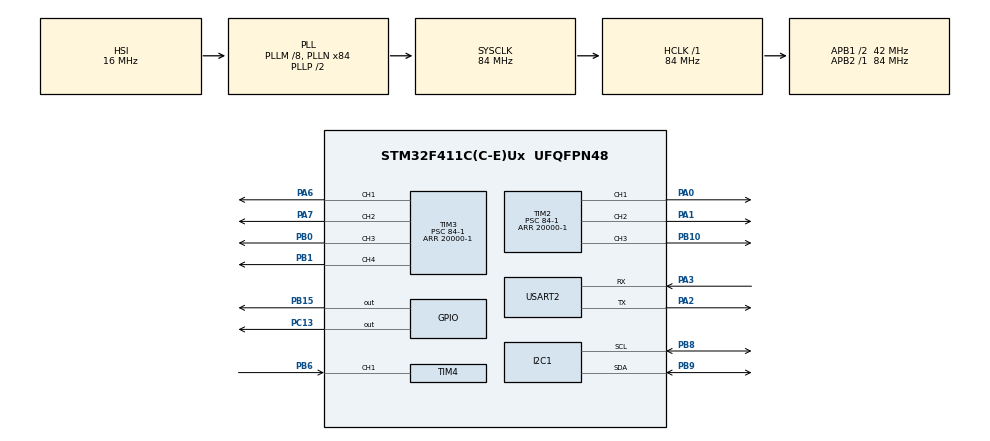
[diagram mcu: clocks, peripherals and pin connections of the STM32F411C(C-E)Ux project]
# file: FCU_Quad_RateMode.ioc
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Mcu.Family=STM32F4
Mcu.Name=STM32F411C(C-E)Ux
Mcu.Package=UFQFPN48
NVIC.PriorityGroup=NVIC_PRIORITYGROUP_4
NVIC.TIM4_IRQn=true\:0\:0\:false\:false\:true\:true\:true\:true
PA0-WKUP.Signal=S_TIM2_CH1_ETR
PA1.Signal=S_TIM2_CH2
PA2.Mode=Asynchronous
PA2.Signal=USART2_TX
PA3.Mode=Asynchronous
PA3.Signal=USART2_RX
PA6.Signal=S_TIM3_CH1
PA7.Signal=S_TIM3_CH2
PB0.Signal=S_TIM3_CH3
PB1.Signal=S_TIM3_CH4
PB10.Signal=S_TIM2_CH3
PB15.Signal=GPIO_Output
PB6.GPIO_PuPd=GPIO_PULLDOWN
PB6.Signal=S_TIM4_CH1
PB8.GPIO_Pu=GPIO_PULLUP
PB8.Mode=I2C
PB8.Signal=I2C1_SCL
PB9.GPIO_Pu=GPIO_PULLUP
PB9.Mode=I2C
PB9.Signal=I2C1_SDA
PC13-ANTI_TAMP.PinState=GPIO_PIN_SET
PC13-ANTI_TAMP.Signal=GPIO_Output
ProjectManager.HeapSize=0x200
ProjectManager.StackSize=0x400
ProjectManager.TargetToolchain=STM32CubeIDE
RCC.48MHZClocksFreq_Value=42000000
RCC.AHBFreq_Value=84000000
RCC.APB1CLKDivider=RCC_HCLK_DIV2
RCC.APB1Freq_Value=42000000
RCC.APB1TimFreq_Value=84000000
RCC.APB2Freq_Value=84000000
RCC.APB2TimFreq_Value=84000000
RCC.CortexFreq_Value=84000000
RCC.HCLKFreq_Value=84000000
RCC.HSE_VALUE=25000000
RCC.HSI_VALUE=16000000
RCC.LSE_VALUE=32768
RCC.PLLM=8
RCC.PLLN=84
RCC.SYSCLKFreq_VALUE=84000000
RCC.SYSCLKSource=RCC_SYSCLKSOURCE_PLLCLK
RCC.VCOOutputFreq_Value=168000000
SH.S_TIM2_CH1_ETR.0=TIM2_CH1,PWM Generation1 CH1
SH.S_TIM2_CH2.0=TIM2_CH2,PWM Generation2 CH2
SH.S_TIM2_CH3.0=TIM2_CH3,PWM Generation3 CH3
SH.S_TIM3_CH1.0=TIM3_CH1,PWM Generation1 CH1
SH.S_TIM3_CH2.0=TIM3_CH2,PWM Generation2 CH2
SH.S_TIM3_CH3.0=TIM3_CH3,PWM Generation3 CH3
SH.S_TIM3_CH4.0=TIM3_CH4,PWM Generation4 CH4
SH.S_TIM4_CH1.0=TIM4_CH1,Input_Capture1_from_TI1
TIM10.Prescaler=84-1
TIM11.Prescaler=83
TIM2.Channel-PWM\ Generation1\ CH1=TIM_CHANNEL_1
TIM2.Channel-PWM\ Generation2\ CH2=TIM_CHANNEL_2
TIM2.Channel-PWM\ Generation3\ CH3=TIM_CHANNEL_3
TIM2.Period=20000-1
TIM2.Prescaler=84-1
TIM3.Channel-PWM\ Generation1\ CH1=TIM_CHANNEL_1
TIM3.Channel-PWM\ Generation2\ CH2=TIM_CHANNEL_2
TIM3.Channel-PWM\ Generation3\ CH3=TIM_CHANNEL_3
TIM3.Channel-PWM\ Generation4\ CH4=TIM_CHANNEL_4
TIM3.Period=20000-1
TIM3.Prescaler=84-1
TIM4.Channel-Input_Capture1_from_TI1=TIM_CHANNEL_1
TIM4.ICFilter_CH1=15
TIM4.Prescaler=84-1
USART2.VirtualMode=VM_ASYNC
VP_TIM10_VS_ClockSourceINT.Mode=Enable_Timer
VP_TIM11_VS_ClockSourceINT.Mode=Enable_Timer
VP_TIM2_VS_ClockSourceINT.Mode=Internal
VP_TIM3_VS_ClockSourceINT.Mode=Internal
VP_TIM4_VS_ClockSourceINT.Mode=Internal
board=custom

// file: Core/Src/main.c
/* USER CODE BEGIN Header */
/**
 ******************************************************************************
 * @file           : main.c
 * @brief          : Main program body
 ******************************************************************************
 * @attention
 *
 * Copyright (c) 2025 STMicroelectronics.
 * All rights reserved.
 *
 * This software is licensed under terms that can be found in the LICENSE file
 * in the root directory of this software component.
 * If no LICENSE file comes with this software, it is provided AS-IS.
 *
 ******************************************************************************
 */
/* USER CODE END Header */
#include "main.h"

/* USER CODE BEGIN Includes */
#include "string.h"
#include "mpu6050.h"
#include <stdio.h>
/* USER CODE END Includes */

/* USER CODE BEGIN PD */
#define PUTCHAR_PROTOTYPE int __io_putchar(int ch)

/* USER CODE END PD */

I2C_HandleTypeDef hi2c1;

TIM_HandleTypeDef htim2;
TIM_HandleTypeDef htim3;
TIM_HandleTypeDef htim4;
TIM_HandleTypeDef htim10;
TIM_HandleTypeDef htim11;

UART_HandleTypeDef huart2;

/* USER CODE BEGIN PV */
volatile uint16_t ppm_live_channels[8];
volatile uint16_t ppm_ready_channels[8];
uint16_t display_channels[8];
volatile uint8_t pulse = 1;

volatile uint8_t ppm_new_data_flag = 0;
volatile uint32_t last_capture = 0;

char msg[100];

volatile uint32_t ICValue_1 = 0;
volatile uint32_t frequency_1 = 0;
volatile float duty_1 = 0;

volatile uint32_t ICValue_2 = 0;
volatile uint32_t frequency_2 = 0;
volatile float duty_2 = 0;

volatile uint32_t ICValue_3 = 0;
volatile uint32_t frequency_3 = 0;
volatile float duty_3 = 0;

volatile uint32_t ICValue_4 = 0;
volatile uint32_t frequency_4 = 0;
volatile float duty_4 = 0;

volatile uint32_t ICValue_5 = 0;
volatile uint32_t frequency_5 = 0;
volatile float duty_5 = 0;

volatile uint32_t ICValue_6 = 0;
volatile uint32_t frequency_6 = 0;
volatile float duty_6 = 0;

volatile float pulse_width_us_1;
volatile float pulse_width_us_2;
volatile float pulse_width_us_3;
volatile float pulse_width_us_4;
volatile float pulse_width_us_5;
volatile float pulse_width_us_6;

float calibration_const_global_roll_accel = 0;
float calibration_const_global_pitch_accel = 0;

float calibration_const_global_roll_gyro = 0;
float calibration_const_global_pitch_gyro = 0;

float calibration_const_global_gx = 0;
float calibration_const_global_gy = 0;
float calibration_const_global_gz = 0;

float calibration_const_global_ax = 0;
float calibration_const_global_ay = 0;
float calibration_const_global_az = 0;

float DesiredRateRoll, DesiredRatePitch, DesiredRateYaw;
float ErrorRateRoll, ErrorRatePitch, ErrorRateYaw;
float InputRoll, InputThrottle, InputPitch, InputYaw;
float PrevErrorRateRoll, PrevErrorRatePitch, PrevErrorRateYaw;
float PrevItermRateRoll, PrevItermRatePitch, PrevItermRateYaw;
float PIDReturn[] = { 0, 0, 0 };

float PRateRoll = 1.87f;
float PRatePitch = 1.87f;
float PRateYaw = 2;
float IRateRoll = 3.35f;
float IRatePitch = 3.35f;
float IRateYaw = 12;
float DRateRoll = 0.03f;
float DRatePitch = 0.03f;
float DRateYaw = 0;

uint32_t last_time;

uint32_t M1 = 0;
uint32_t M2 = 0;
uint32_t M3 = 0;
uint32_t M4 = 0;

int cnt = 0;
float dt = 0;
int prev_cnt = 0;

float gyro_x = 0;
float gyro_y = 0;
float gyro_z = 0;
float accel_roll = 0;
float accel_pitch = 0;

int tim_value = 0;

/* USER CODE END PV */

void SystemClock_Config(void);
static void MX_GPIO_Init(void);
static void MX_I2C1_Init(void);
static void MX_TIM3_Init(void);
static void MX_TIM4_Init(void);
static void MX_TIM2_Init(void);
static void MX_USART2_UART_Init(void);
static void MX_TIM10_Init(void);
static void MX_TIM11_Init(void);

/* USER CODE BEGIN 0 */

uint32_t micros(void) {
	return __HAL_TIM_GET_COUNTER(&htim10);
}

float mapRCtoPID(uint16_t rcValue) {
	if (rcValue > 2000)
		rcValue = 2000;
	if (rcValue < 1000)
		rcValue = 1000;
	return (rcValue - 1000) * 10.0f / 1000.0f;
}

void HAL_TIM_IC_CaptureCallback(TIM_HandleTypeDef *htim) {
	if (htim->Instance == TIM4 && htim->Channel == HAL_TIM_ACTIVE_CHANNEL_1) {
		uint32_t current_capture = HAL_TIM_ReadCapturedValue(htim,
		TIM_CHANNEL_1);
		uint16_t pulse_width;

		if (current_capture > last_capture) {
			pulse_width = current_capture - last_capture;
		} else {
			pulse_width = (65535 - last_capture) + current_capture;
		}

		if (pulse_width > 3000) {

			memcpy((void*) ppm_ready_channels, (void*) ppm_live_channels,
					sizeof(ppm_live_channels));
			ppm_new_data_flag = 1;

			pulse = 1;
		}

		else {
			switch (pulse) {
			case 1:
				ppm_live_channels[0] = pulse_width;
				pulse++;
				break;
			case 2:
				ppm_live_channels[1] = pulse_width;
				pulse++;
				break;
			case 3:
				ppm_live_channels[2] = pulse_width;
				pulse++;
				break;
			case 4:
				ppm_live_channels[3] = pulse_width;
				pulse++;
				break;
			case 5:
				ppm_live_channels[4] = pulse_width;
				pulse++;
				break;
			case 6:
				ppm_live_channels[5] = pulse_width;
				pulse++;
				break;
			default:

				pulse++;
				break;
			}
		}
		last_capture = current_capture;
	}
}

void set_raw_ccr(int ccr_val, int channel) // use this instead , cofnigured for arr = 20k-1 - aryan
{
	if (channel == 1) {
		__HAL_TIM_SET_COMPARE(&htim2, TIM_CHANNEL_1, ccr_val);
	} else if (channel == 2) {
		__HAL_TIM_SET_COMPARE(&htim2, TIM_CHANNEL_2, ccr_val);
	} else if (channel == 3) {
		__HAL_TIM_SET_COMPARE(&htim2, TIM_CHANNEL_3, ccr_val);
	} else if (channel == 4) {
		__HAL_TIM_SET_COMPARE(&htim3, TIM_CHANNEL_1, ccr_val);
	} else if (channel == 5) {
		__HAL_TIM_SET_COMPARE(&htim3, TIM_CHANNEL_2, ccr_val);
	} else if (channel == 6) {
		__HAL_TIM_SET_COMPARE(&htim3, TIM_CHANNEL_3, ccr_val);
	} else if (channel == 7) {
		__HAL_TIM_SET_COMPARE(&htim3, TIM_CHANNEL_4, ccr_val);
	}
}

void pid_equation(float Error, float P, float I, float D, float PrevError,
		float PrevIterm) {

	float Pterm = P * Error;
	float Iterm = PrevIterm + I * (Error + PrevError) * 0.004 / 2;
	if (Iterm > 400)
		Iterm = 400;
	else if (Iterm < -400)
		Iterm = -400;
	float Dterm = D * (Error - PrevError) / 0.004;
	float PIDOutput = Pterm + Iterm + Dterm;
	if (PIDOutput > 400)
		PIDOutput = 400;
	else if (PIDOutput < -400)
		PIDOutput = -400;
	PIDReturn[0] = PIDOutput;
	PIDReturn[1] = Error;
	PIDReturn[2] = Iterm;
}

void reset_pid(void) {
	PrevErrorRateRoll = 0;
	PrevErrorRatePitch = 0;
	PrevErrorRateYaw = 0;
	PrevItermRateRoll = 0;
	PrevItermRatePitch = 0;
	PrevItermRateYaw = 0;
}

void servo_test_sweep(void) {
	int pulse;

//	printf("Starting Servo/ESC Test Sweep...\r\n");

	/* Start PWM on all servo channels */
	HAL_TIM_PWM_Start(&htim2, TIM_CHANNEL_1);
	HAL_TIM_PWM_Start(&htim2, TIM_CHANNEL_2);
	HAL_TIM_PWM_Start(&htim2, TIM_CHANNEL_3);
	HAL_TIM_PWM_Start(&htim3, TIM_CHANNEL_1);
	HAL_TIM_PWM_Start(&htim3, TIM_CHANNEL_2);
	HAL_TIM_PWM_Start(&htim3, TIM_CHANNEL_3);
	HAL_TIM_PWM_Start(&htim3, TIM_CHANNEL_4);

	/* Sweep from 1000 to 2000 */
	for (pulse = 500; pulse <= 2000; pulse += 50) {
		__HAL_TIM_SET_COMPARE(&htim2, TIM_CHANNEL_1, pulse);
		__HAL_TIM_SET_COMPARE(&htim2, TIM_CHANNEL_2, pulse);
		__HAL_TIM_SET_COMPARE(&htim2, TIM_CHANNEL_3, pulse);

		__HAL_TIM_SET_COMPARE(&htim3, TIM_CHANNEL_1, pulse);
		__HAL_TIM_SET_COMPARE(&htim3, TIM_CHANNEL_2, pulse);
		__HAL_TIM_SET_COMPARE(&htim3, TIM_CHANNEL_3, pulse);
		__HAL_TIM_SET_COMPARE(&htim3, TIM_CHANNEL_4, pulse);

		//	printf("PWM = %lu us\r\n", pulse);
		HAL_Delay(500);
	}

	/* Sweep back from 2000 to 1000 */
	for (pulse = 2000; pulse >= 1000; pulse -= 50) {
		__HAL_TIM_SET_COMPARE(&htim2, TIM_CHANNEL_1, pulse);
		__HAL_TIM_SET_COMPARE(&htim2, TIM_CHANNEL_2, pulse);
		__HAL_TIM_SET_COMPARE(&htim2, TIM_CHANNEL_3, pulse);

		__HAL_TIM_SET_COMPARE(&htim3, TIM_CHANNEL_1, pulse);
		__HAL_TIM_SET_COMPARE(&htim3, TIM_CHANNEL_2, pulse);
		__HAL_TIM_SET_COMPARE(&htim3, TIM_CHANNEL_3, pulse);
		__HAL_TIM_SET_COMPARE(&htim3, TIM_CHANNEL_4, pulse);

		//	printf("PWM = %lu us\r\n", pulse);
		HAL_Delay(500);
	}

	//printf("Servo/ESC Sweep Test Complete.\r\n");
}

PUTCHAR_PROTOTYPE {
	/* Place your implementation of fputc here */
	/* e.g. write a character to the USART1 and Loop until the end of transmission */
	HAL_UART_Transmit(&huart2, (uint8_t*) &ch, 1, 0xFFFF);

	return ch;
}

uint32_t mapRCtoMotor(uint16_t rcValue) {
	if (rcValue > 2000) {
		rcValue = 2000;
	}
	if (rcValue < 1000) {
		rcValue = 1000;
	}
	// used simple ratio vala logic (y-0/63000-0 = x-1000 / 2000-1000)
	uint32_t motorValue = (uint32_t) (rcValue - 1000) * 180 / 1000;
	return motorValue;
}
/* USER CODE END 0 */

int main(void)
{

  /* MCU Configuration--------------------------------------------------------*/

  /* Reset of all peripherals, Initializes the Flash interface and the Systick. */
  HAL_Init();

  /* Configure the system clock */
  SystemClock_Config();

  /* Initialize all configured peripherals */
  MX_GPIO_Init();
  MX_I2C1_Init();
  MX_TIM3_Init();
  MX_TIM4_Init();
  MX_TIM2_Init();
  MX_USART2_UART_Init();
  MX_TIM10_Init();
  MX_TIM11_Init();
  /* USER CODE BEGIN 2 */

	HAL_TIM_PWM_Start(&htim2, TIM_CHANNEL_1); //pwm out tim2
	HAL_TIM_PWM_Start(&htim2, TIM_CHANNEL_2);
	HAL_TIM_PWM_Start(&htim2, TIM_CHANNEL_3);
	HAL_TIM_PWM_Start(&htim3, TIM_CHANNEL_1); //pwm out tim3
	HAL_TIM_PWM_Start(&htim3, TIM_CHANNEL_2);
	HAL_TIM_PWM_Start(&htim3, TIM_CHANNEL_3);
	HAL_TIM_PWM_Start(&htim3, TIM_CHANNEL_4);
	HAL_TIM_IC_Start_IT(&htim4, TIM_CHANNEL_1);

	int ThrottleIdle = 1200;

	printf("Hello World!\n");

	HAL_GPIO_WritePin(GPIOC, GPIO_PIN_13, 0);
	HAL_Delay(3000);
	mpu_init();

	printf("Init success!\n");

	HAL_GPIO_WritePin(GPIOC, GPIO_PIN_13, 1);

	calibration_const_global_gx = mpu_gyro_calibration(0);
	calibration_const_global_gy = mpu_gyro_calibration(1);
	calibration_const_global_gz = mpu_gyro_calibration(2);

	HAL_TIM_Base_Start(&htim10);

	last_time = micros();

  /* USER CODE END 2 */

  /* Infinite loop */
  /* USER CODE BEGIN WHILE */
	while (1) {

		printf("looping 1\n");

		uint32_t now = micros();

		if ((uint16_t) (now - last_time) >= 4000)

		{

			HAL_TIM_Base_Start(&htim11);

			last_time = now;

			////////ppm/////////
			memcpy(display_channels, (void*) ppm_ready_channels,
					sizeof(ppm_ready_channels));
			ppm_new_data_flag = 0;

			//////ppm//////////

			//desired set point calc - aryan
			DesiredRateRoll = 0.15 * (display_channels[0] - 1500);
			DesiredRatePitch = 0.15 * (display_channels[1] - 1500);
			InputThrottle = display_channels[2];
			DesiredRateYaw = 0.15 * (display_channels[3] - 1500);

			DesiredRateYaw = -DesiredRateYaw;

			//error calc (desired - current = error oof)

			ErrorRateRoll = DesiredRateRoll
					- (mpu_gyro_read(0) - calibration_const_global_gx); //x
			ErrorRatePitch = DesiredRatePitch
					- (mpu_gyro_read(1) - calibration_const_global_gy); //y
			ErrorRateYaw = DesiredRateYaw
					- (mpu_gyro_read(2) - calibration_const_global_gz); //z

			//realtime pid mapping - uncomment out for tuning

			PRatePitch = mapRCtoPID(display_channels[4]);
			PRateRoll = mapRCtoPID(display_channels[4]);

//     z	if (display_channels[6] > 1700) {
			IRateRoll = mapRCtoPID(display_channels[5]);
			IRatePitch = mapRCtoPID(display_channels[5]);

//			//printf("Changing I now\n");
//				} else {
//			 DRateRoll = mapRCtoPID(display_channels[5]);
//			 DRatePitch = mapRCtoPID(display_channels[5]);
//
//			 //	printf("Changing D now\n");
//				}
//

			//actual pid calculations and value return - aryan
			pid_equation(ErrorRateRoll, PRateRoll, IRateRoll, DRateRoll,
					PrevErrorRateRoll, PrevItermRateRoll);
			InputRoll = PIDReturn[0];
			PrevErrorRateRoll = PIDReturn[1];
			PrevItermRateRoll = PIDReturn[2];
			pid_equation(ErrorRatePitch, PRatePitch, IRatePitch, DRatePitch,
					PrevErrorRatePitch, PrevItermRatePitch);
			InputPitch = PIDReturn[0];
			PrevErrorRatePitch = PIDReturn[1];
			PrevItermRatePitch = PIDReturn[2];
			pid_equation(ErrorRateYaw, PRateYaw, IRateYaw, DRateYaw,
					PrevErrorRateYaw, PrevItermRateYaw);
			InputYaw = PIDReturn[0];
			PrevErrorRateYaw = PIDReturn[1];
			PrevItermRateYaw = PIDReturn[2];

//debug print

			/*
			 printf(
			 "THR=%u ERR[R%+.2f P%+.2f Y%+.2f] PIDOUT[R%+.2f P%+.2f Y%+.2f] MIX[%ld,%ld,%ld,%ld]\n",
			 display_channels[2], ErrorRateRoll, ErrorRatePitch,
			 ErrorRateYaw, InputRoll, InputPitch, InputYaw, (long) M1,
			 (long) M2, (long) M3, (long) M4);
			 */

			//corresponds to each of the 4 motors and their respective motor mixing formulas - aryan
			//yaw is reversed, so basically flipping it back - aryan
			M1 = 1.024f * (InputThrottle - InputRoll - InputPitch - InputYaw);
			M2 = 1.024f * (InputThrottle - InputRoll + InputPitch + InputYaw);
			M3 = 1.024f * (InputThrottle + InputRoll + InputPitch - InputYaw);
			M4 = 1.024f * (InputThrottle + InputRoll - InputPitch + InputYaw);

///debug print
			/*
			 printf("THR=%u MIX=[%ld,%ld,%ld,%ld] PID=[R%+.1f P%+.1f Y%+.1f] OUT=[%lu,%lu,%lu,%lu]\n",
			 display_channels[2],
			 (long)M1, (long)M2, (long)M3, (long)M4,
			 InputRoll, InputPitch, InputYaw,
			 (unsigned long)M1, (unsigned long)M2,
			 (unsigned long)M3, (unsigned long)M4);

			 printf("GZ raw=%+.2f  GZ cal=%+.2f  ErrorY=%+.2f\n",
			 mpu_gyro_read(2),
			 mpu_gyro_read(2) - calibration_const_global_gz,
			 ErrorRateYaw);
			 */

			//basically the lowest the throttle can go - aryan
			if (M1 < ThrottleIdle)
				M1 = ThrottleIdle;
			if (M2 < ThrottleIdle)
				M2 = ThrottleIdle;
			if (M3 < ThrottleIdle)
				M3 = ThrottleIdle;
			if (M4 < ThrottleIdle)
				M4 = ThrottleIdle;

			// capping maximum m1-4 values - aryan

			if (M1 > 2000)
				M1 = 1999;
			if (M2 > 2000)
				M2 = 1999;
			if (M3 > 2000)
				M3 = 1999;
			if (M4 > 2000)
				M4 = 1999;

			//whenever 0 throttle issued to remote then cutoff and reset pid  - aryan

			int ThrottleCutOff = 1000;
			if (display_channels[2] < 1100) {
				M1 = ThrottleCutOff;
				M2 = ThrottleCutOff;
				M3 = ThrottleCutOff;
				M4 = ThrottleCutOff;
				reset_pid();
			}

			//finally send the issued motor power commands to the motors themselves - aryan

			//channel notes on our test setup - aryan

			/*	top right - tim 3 ch 1  -
			 top left - tim 3 ch 3
			 bottom right - tim 3 ch 4
			 bottom left - tim 3 ch 2*/

			set_raw_ccr(M1, 5); // func 4 is m3
			set_raw_ccr(M4, 7); // func 7 is m4
			set_raw_ccr(M3, 4);  // func 5 is m1
			set_raw_ccr(M2, 6); //func 6 is m2

			HAL_TIM_Base_Stop(&htim11);
			tim_value = TIM11->CNT;
			TIM11->CNT = 0;

			printf("Kalman Angles: Roll = %.2f, Pitch = %.2f\n", mpu_accel_read(0), mpu_accel_read(1));

//debug prints

			/*

			 printf("P Roll and pitch is %f and I Roll and pitch is %f\n",PRatePitch, IRatePitch);

			 printf("M1:%lu  M2:%lu  M3:%lu  M4:%lu\r\n",
			 (unsigned long) M1, (unsigned long) M2,
			 (unsigned long) M3, (unsigned long) M4);

			 printf("GYRO raw: gx=%+.2f gy=%+.2f gz=%+.2f\n",
			 mpu_gyro_read(0) - calibration_const_global_gx , mpu_gyro_read(1) - calibration_const_global_gy , mpu_gyro_read(2) - calibration_const_global_gz );

			 printf("ERR: eR=%+.2f eP=%+.2f eY=%+.2f\n", ErrorRateRoll,
			 ErrorRatePitch, ErrorRateYaw);

			 printf("PID R: P=%+.2f I=%+.2f D=%+.2f OUT=%+.2f\n",
			 PRateRoll * PrevErrorRateRoll,
			 PrevItermRateRoll,
			 InputRoll - (PRateRoll * PrevErrorRateRoll + PrevItermRateRoll),
			 InputRoll);

			 printf("PID P: P=%+.2f I=%+.2f D=%+.2f OUT=%+.2f\n",
			 PRatePitch * PrevErrorRatePitch,
			 PrevItermRatePitch,
			 InputPitch - (PRatePitch * PrevErrorRatePitch + PrevItermRatePitch),
			 InputPitch);

			 printf("PID Y: P=%+.2f I=%+.2f D=%+.2f OUT=%+.2f\n",
			 PRateYaw * PrevErrorRateYaw,
			 PrevItermRateYaw,
			 InputYaw - (PRateYaw * PrevErrorRateYaw + PrevItermRateYaw),
			 InputYaw);

			 printf("MIX raw: M1=%d M2=%d M3=%d M4=%d\n", M1, M2, M3, M4);

			 printf("PWM OUT: TR=%d TL=%d BL=%d BR=%d\n",
			 M1, M2, M3, M4);

			 */
		}
    /* USER CODE END WHILE */

	}
}

void SystemClock_Config(void)
{
  RCC_OscInitTypeDef RCC_OscInitStruct = {0};
  RCC_ClkInitTypeDef RCC_ClkInitStruct = {0};

  /** Configure the main internal regulator output voltage
  */
  __HAL_RCC_PWR_CLK_ENABLE();
  __HAL_PWR_VOLTAGESCALING_CONFIG(PWR_REGULATOR_VOLTAGE_SCALE1);

  /** Initializes the RCC Oscillators according to the specified parameters
  * in the RCC_OscInitTypeDef structure.
  */
  RCC_OscInitStruct.OscillatorType = RCC_OSCILLATORTYPE_HSI;
  RCC_OscInitStruct.HSIState = RCC_HSI_ON;
  RCC_OscInitStruct.HSICalibrationValue = RCC_HSICALIBRATION_DEFAULT;
  RCC_OscInitStruct.PLL.PLLState = RCC_PLL_ON;
  RCC_OscInitStruct.PLL.PLLSource = RCC_PLLSOURCE_HSI;
  RCC_OscInitStruct.PLL.PLLM = 8;
  RCC_OscInitStruct.PLL.PLLN = 84;
  RCC_OscInitStruct.PLL.PLLP = RCC_PLLP_DIV2;
  RCC_OscInitStruct.PLL.PLLQ = 4;
  if (HAL_RCC_OscConfig(&RCC_OscInitStruct) != HAL_OK)
  {
    Error_Handler();
  }

  /** Initializes the CPU, AHB and APB buses clocks
  */
  RCC_ClkInitStruct.ClockType = RCC_CLOCKTYPE_HCLK|RCC_CLOCKTYPE_SYSCLK
                              |RCC_CLOCKTYPE_PCLK1|RCC_CLOCKTYPE_PCLK2;
  RCC_ClkInitStruct.SYSCLKSource = RCC_SYSCLKSOURCE_PLLCLK;
  RCC_ClkInitStruct.AHBCLKDivider = RCC_SYSCLK_DIV1;
  RCC_ClkInitStruct.APB1CLKDivider = RCC_HCLK_DIV2;
  RCC_ClkInitStruct.APB2CLKDivider = RCC_HCLK_DIV1;

  if (HAL_RCC_ClockConfig(&RCC_ClkInitStruct, FLASH_LATENCY_2) != HAL_OK)
  {
    Error_Handler();
  }
}

static void MX_I2C1_Init(void)
{

  hi2c1.Instance = I2C1;
  hi2c1.Init.ClockSpeed = 100000;
  hi2c1.Init.DutyCycle = I2C_DUTYCYCLE_2;
  hi2c1.Init.OwnAddress1 = 0;
  hi2c1.Init.AddressingMode = I2C_ADDRESSINGMODE_7BIT;
  hi2c1.Init.DualAddressMode = I2C_DUALADDRESS_DISABLE;
  hi2c1.Init.OwnAddress2 = 0;
  hi2c1.Init.GeneralCallMode = I2C_GENERALCALL_DISABLE;
  hi2c1.Init.NoStretchMode = I2C_NOSTRETCH_DISABLE;
  if (HAL_I2C_Init(&hi2c1) != HAL_OK)
  {
    Error_Handler();
  }

}

static void MX_TIM2_Init(void)
{

  TIM_ClockConfigTypeDef sClockSourceConfig = {0};
  TIM_MasterConfigTypeDef sMasterConfig = {0};
  TIM_OC_InitTypeDef sConfigOC = {0};

  htim2.Instance = TIM2;
  htim2.Init.Prescaler = 84-1;
  htim2.Init.CounterMode = TIM_COUNTERMODE_UP;
  htim2.Init.Period = 20000-1;
  htim2.Init.ClockDivision = TIM_CLOCKDIVISION_DIV1;
  htim2.Init.AutoReloadPreload = TIM_AUTORELOAD_PRELOAD_DISABLE;
  if (HAL_TIM_Base_Init(&htim2) != HAL_OK)
  {
    Error_Handler();
  }
  sClockSourceConfig.ClockSource = TIM_CLOCKSOURCE_INTERNAL;
  if (HAL_TIM_ConfigClockSource(&htim2, &sClockSourceConfig) != HAL_OK)
  {
    Error_Handler();
  }
  if (HAL_TIM_PWM_Init(&htim2) != HAL_OK)
  {
    Error_Handler();
  }
  sMasterConfig.MasterOutputTrigger = TIM_TRGO_RESET;
  sMasterConfig.MasterSlaveMode = TIM_MASTERSLAVEMODE_DISABLE;
  if (HAL_TIMEx_MasterConfigSynchronization(&htim2, &sMasterConfig) != HAL_OK)
  {
    Error_Handler();
  }
  sConfigOC.OCMode = TIM_OCMODE_PWM1;
  sConfigOC.Pulse = 0;
  sConfigOC.OCPolarity = TIM_OCPOLARITY_HIGH;
  sConfigOC.OCFastMode = TIM_OCFAST_DISABLE;
  if (HAL_TIM_PWM_ConfigChannel(&htim2, &sConfigOC, TIM_CHANNEL_1) != HAL_OK)
  {
    Error_Handler();
  }
  if (HAL_TIM_PWM_ConfigChannel(&htim2, &sConfigOC, TIM_CHANNEL_2) != HAL_OK)
  {
    Error_Handler();
  }
  if (HAL_TIM_PWM_ConfigChannel(&htim2, &sConfigOC, TIM_CHANNEL_3) != HAL_OK)
  {
    Error_Handler();
  }
  HAL_TIM_MspPostInit(&htim2);

}

static void MX_TIM3_Init(void)
{

  TIM_ClockConfigTypeDef sClockSourceConfig = {0};
  TIM_MasterConfigTypeDef sMasterConfig = {0};
  TIM_OC_InitTypeDef sConfigOC = {0};

  htim3.Instance = TIM3;
  htim3.Init.Prescaler = 84-1;
  htim3.Init.CounterMode = TIM_COUNTERMODE_UP;
  htim3.Init.Period = 20000-1;
  htim3.Init.ClockDivision = TIM_CLOCKDIVISION_DIV1;
  htim3.Init.AutoReloadPreload = TIM_AUTORELOAD_PRELOAD_DISABLE;
  if (HAL_TIM_Base_Init(&htim3) != HAL_OK)
  {
    Error_Handler();
  }
  sClockSourceConfig.ClockSource = TIM_CLOCKSOURCE_INTERNAL;
  if (HAL_TIM_ConfigClockSource(&htim3, &sClockSourceConfig) != HAL_OK)
  {
    Error_Handler();
  }
  if (HAL_TIM_PWM_Init(&htim3) != HAL_OK)
  {
    Error_Handler();
  }
  sMasterConfig.MasterOutputTrigger = TIM_TRGO_RESET;
  sMasterConfig.MasterSlaveMode = TIM_MASTERSLAVEMODE_DISABLE;
  if (HAL_TIMEx_MasterConfigSynchronization(&htim3, &sMasterConfig) != HAL_OK)
  {
    Error_Handler();
  }
  sConfigOC.OCMode = TIM_OCMODE_PWM1;
  sConfigOC.Pulse = 0;
  sConfigOC.OCPolarity = TIM_OCPOLARITY_HIGH;
  sConfigOC.OCFastMode = TIM_OCFAST_DISABLE;
  if (HAL_TIM_PWM_ConfigChannel(&htim3, &sConfigOC, TIM_CHANNEL_1) != HAL_OK)
  {
    Error_Handler();
  }
  if (HAL_TIM_PWM_ConfigChannel(&htim3, &sConfigOC, TIM_CHANNEL_2) != HAL_OK)
  {
    Error_Handler();
  }
  if (HAL_TIM_PWM_ConfigChannel(&htim3, &sConfigOC, TIM_CHANNEL_3) != HAL_OK)
  {
    Error_Handler();
  }
  if (HAL_TIM_PWM_ConfigChannel(&htim3, &sConfigOC, TIM_CHANNEL_4) != HAL_OK)
  {
    Error_Handler();
  }
  HAL_TIM_MspPostInit(&htim3);

}

static void MX_TIM4_Init(void)
{

  TIM_ClockConfigTypeDef sClockSourceConfig = {0};
  TIM_MasterConfigTypeDef sMasterConfig = {0};
  TIM_IC_InitTypeDef sConfigIC = {0};

  htim4.Instance = TIM4;
  htim4.Init.Prescaler = 84-1;
  htim4.Init.CounterMode = TIM_COUNTERMODE_UP;
  htim4.Init.Period = 65535;
  htim4.Init.ClockDivision = TIM_CLOCKDIVISION_DIV1;
  htim4.Init.AutoReloadPreload = TIM_AUTORELOAD_PRELOAD_DISABLE;
  if (HAL_TIM_Base_Init(&htim4) != HAL_OK)
  {
    Error_Handler();
  }
  sClockSourceConfig.ClockSource = TIM_CLOCKSOURCE_INTERNAL;
  if (HAL_TIM_ConfigClockSource(&htim4, &sClockSourceConfig) != HAL_OK)
  {
    Error_Handler();
  }
  if (HAL_TIM_IC_Init(&htim4) != HAL_OK)
  {
    Error_Handler();
  }
  sMasterConfig.MasterOutputTrigger = TIM_TRGO_RESET;
  sMasterConfig.MasterSlaveMode = TIM_MASTERSLAVEMODE_DISABLE;
  if (HAL_TIMEx_MasterConfigSynchronization(&htim4, &sMasterConfig) != HAL_OK)
  {
    Error_Handler();
  }
  sConfigIC.ICPolarity = TIM_INPUTCHANNELPOLARITY_RISING;
  sConfigIC.ICSelection = TIM_ICSELECTION_DIRECTTI;
  sConfigIC.ICPrescaler = TIM_ICPSC_DIV1;
  sConfigIC.ICFilter = 15;
  if (HAL_TIM_IC_ConfigChannel(&htim4, &sConfigIC, TIM_CHANNEL_1) != HAL_OK)
  {
    Error_Handler();
  }

}

static void MX_TIM10_Init(void)
{

  htim10.Instance = TIM10;
  htim10.Init.Prescaler = 84-1;
  htim10.Init.CounterMode = TIM_COUNTERMODE_UP;
  htim10.Init.Period = 65535;
  htim10.Init.ClockDivision = TIM_CLOCKDIVISION_DIV1;
  htim10.Init.AutoReloadPreload = TIM_AUTORELOAD_PRELOAD_DISABLE;
  if (HAL_TIM_Base_Init(&htim10) != HAL_OK)
  {
    Error_Handler();
  }

}

static void MX_TIM11_Init(void)
{

  htim11.Instance = TIM11;
  htim11.Init.Prescaler = 83;
  htim11.Init.CounterMode = TIM_COUNTERMODE_UP;
  htim11.Init.Period = 65535;
  htim11.Init.ClockDivision = TIM_CLOCKDIVISION_DIV1;
  htim11.Init.AutoReloadPreload = TIM_AUTORELOAD_PRELOAD_DISABLE;
  if (HAL_TIM_Base_Init(&htim11) != HAL_OK)
  {
    Error_Handler();
  }

}

static void MX_USART2_UART_Init(void)
{

  huart2.Instance = USART2;
  huart2.Init.BaudRate = 115200;
  huart2.Init.WordLength = UART_WORDLENGTH_8B;
  huart2.Init.StopBits = UART_STOPBITS_1;
  huart2.Init.Parity = UART_PARITY_NONE;
  huart2.Init.Mode = UART_MODE_TX_RX;
  huart2.Init.HwFlowCtl = UART_HWCONTROL_NONE;
  huart2.Init.OverSampling = UART_OVERSAMPLING_16;
  if (HAL_UART_Init(&huart2) != HAL_OK)
  {
    Error_Handler();
  }

}

static void MX_GPIO_Init(void)
{
  GPIO_InitTypeDef GPIO_InitStruct = {0};

  /* GPIO Ports Clock Enable */
  __HAL_RCC_GPIOC_CLK_ENABLE();
  __HAL_RCC_GPIOA_CLK_ENABLE();
  __HAL_RCC_GPIOB_CLK_ENABLE();

  /*Configure GPIO pin Output Level */
  HAL_GPIO_WritePin(GPIOC, GPIO_PIN_13, GPIO_PIN_SET);

  /*Configure GPIO pin Output Level */
  HAL_GPIO_WritePin(GPIOB, GPIO_PIN_15, GPIO_PIN_RESET);

  /*Configure GPIO pin : PC13 */
  GPIO_InitStruct.Pin = GPIO_PIN_13;
  GPIO_InitStruct.Mode = GPIO_MODE_OUTPUT_PP;
  GPIO_InitStruct.Pull = GPIO_NOPULL;
  GPIO_InitStruct.Speed = GPIO_SPEED_FREQ_LOW;
  HAL_GPIO_Init(GPIOC, &GPIO_InitStruct);

  /*Configure GPIO pin : PB15 */
  GPIO_InitStruct.Pin = GPIO_PIN_15;
  GPIO_InitStruct.Mode = GPIO_MODE_OUTPUT_PP;
  GPIO_InitStruct.Pull = GPIO_NOPULL;
  GPIO_InitStruct.Speed = GPIO_SPEED_FREQ_LOW;
  HAL_GPIO_Init(GPIOB, &GPIO_InitStruct);

}

void Error_Handler(void)
{
	__disable_irq();
	while (1) {
	}
}
